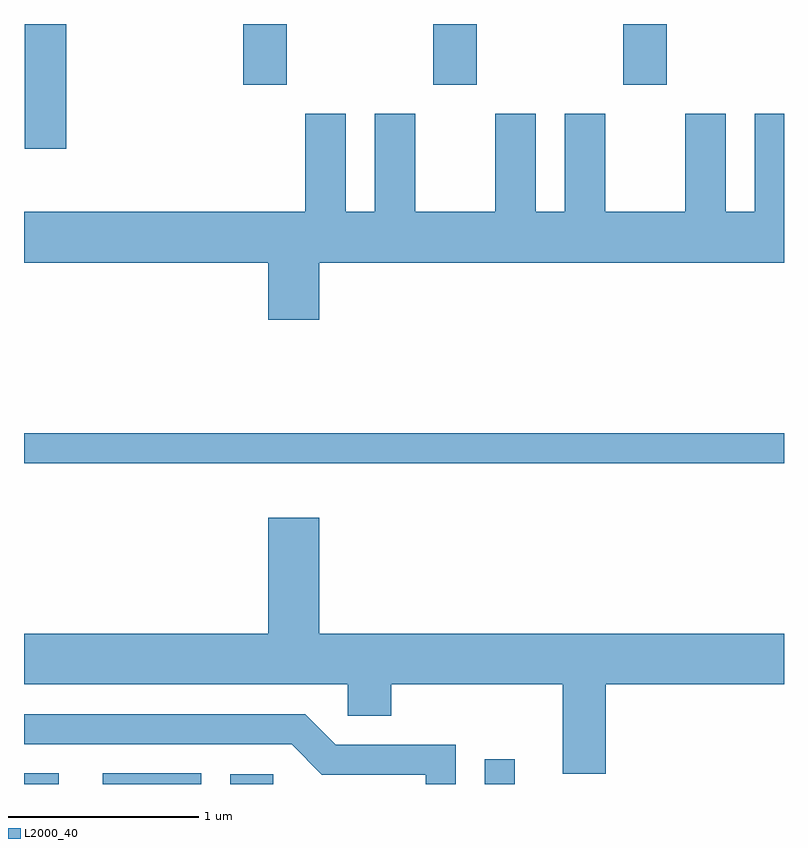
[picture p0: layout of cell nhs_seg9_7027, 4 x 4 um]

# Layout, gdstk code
import gdstk
lib = gdstk.Library(unit=1e-6, precision=1e-09)
def R(c, l, rs):  # rectangles x0, y0, x1, y1
    for r in rs: c.add(gdstk.rectangle(r[:2], r[2:], *l))
def A(c, l, x, y, w, h, nx, ny, dx, dy):  # array of equal rectangles
    R(c, l, [(x+i*dx, y+j*dy, x+i*dx+w, y+j*dy+h) for i in range(nx) for j in range(ny)])
def P(c, l, *ps):  # polygons
    for p in ps: c.add(gdstk.Polygon(p, *l))
L2000_40 = (2000, 40)

nhs_seg9_7027 = lib.new_cell('nhs_seg9_7027')
A(nhs_seg9_7027, L2000_40, 394.766, 1966.111, 0.228, 0.321, 3, 1, 1, 0)
R(nhs_seg9_7027, L2000_40, [(393.611,1962.432,393.794,1962.489), (394.026,1962.432,394.544,1962.489), (394.696,1962.432,394.924,1962.484), (396.036,1962.432,396.194,1962.563), (393.611,1964.121,397.611,1964.279), (393.616,1965.776,393.834,1966.432)])
P(nhs_seg9_7027, L2000_40, [(395.164,1965.176),(397.611,1965.176),(397.611,1965.959),(397.456,1965.959),(397.456,1965.444),(397.304,1965.444),(397.304,1965.959),(397.091,1965.959),(397.091,1965.444),(396.669,1965.444),(396.669,1965.959),(396.456,1965.959),(396.456,1965.444),(396.304,1965.444),(396.304,1965.959),(396.091,1965.959),(396.091,1965.444),(395.669,1965.444),(395.669,1965.959),(395.456,1965.959),(395.456,1965.444),(395.304,1965.444),(395.304,1965.959),(395.091,1965.959),(395.091,1965.444),(393.611,1965.444),(393.611,1965.176),(394.896,1965.176),(394.896,1964.876),(395.164,1964.876)],
  [(396.674,1962.956),(397.611,1962.956),(397.611,1963.224),(395.164,1963.224),(395.164,1963.834),(394.896,1963.834),(394.896,1963.224),(393.611,1963.224),(393.611,1962.956),(395.316,1962.956),(395.316,1962.791),(395.544,1962.791),(395.544,1962.956),(396.446,1962.956),(396.446,1962.486),(396.674,1962.486)],
  [(395.884,1962.639),(395.252,1962.639),(395.092,1962.799),(393.611,1962.799),(393.611,1962.641),(395.019,1962.641),(395.179,1962.481),(395.726,1962.481),(395.726,1962.432),(395.884,1962.432)])

lib.write_gds('nhs_seg9_7027.gds')
